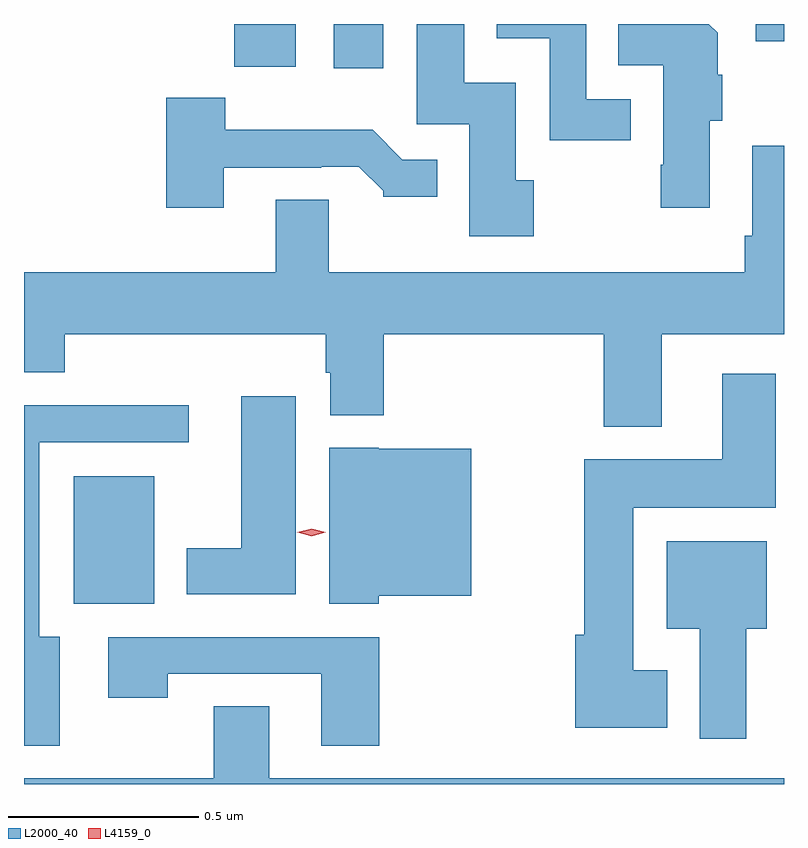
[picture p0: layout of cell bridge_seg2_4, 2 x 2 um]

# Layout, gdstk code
import gdstk
lib = gdstk.Library(unit=1e-6, precision=1e-09)
def R(c, l, rs):  # rectangles x0, y0, x1, y1
    for r in rs: c.add(gdstk.rectangle(r[:2], r[2:], *l))
def P(c, l, *ps):  # polygons
    for p in ps: c.add(gdstk.Polygon(p, *l))
L2000_40 = (2000, 40)
L4159_0 = (4159, 0)

bridge_seg2_4 = lib.new_cell('bridge_seg2_4')
R(bridge_seg2_4, L2000_40, [(653.744,638.936,653.956,639.271), (654.428,640.344,654.559,640.461), (654.166,640.349,654.328,640.461), (655.538,640.416,655.613,640.461)])
P(bridge_seg2_4, L2000_40, [(654.954,640.05),(654.907,640.05),(654.907,640.306),(654.772,640.306),(654.772,640.461),(654.647,640.461),(654.647,640.197),(654.785,640.197),(654.785,639.902),(654.954,639.902)],
  [(655.21,640.263),(655.092,640.263),(655.092,640.461),(654.857,640.461),(654.857,640.424),(654.996,640.424),(654.996,640.155),(655.21,640.155)],
  [(655.417,640.206),(655.451,640.206),(655.451,640.328),(655.438,640.328),(655.438,640.438),(655.415,640.461),(655.177,640.461),(655.177,640.352),(655.295,640.352),(655.295,640.09),(655.288,640.09),(655.288,639.978),(655.417,639.978)],
  [(654.139,640.083),(654.395,640.083),(654.395,640.086),(654.494,640.086),(654.558,640.022),(654.558,640.007),(654.7,640.007),(654.7,640.104),(654.609,640.104),(654.531,640.183),(654.142,640.183),(654.142,640.267),(653.987,640.267),(653.987,639.978),(654.139,639.978)],
  [(655.291,639.644),(655.613,639.644),(655.613,640.141),(655.53,640.141),(655.53,639.904),(655.51,639.904),(655.51,639.808),(654.415,639.808),(654.415,639.998),(654.275,639.998),(654.275,639.808),(653.613,639.808),(653.613,639.545),(653.72,639.545),(653.72,639.644),(654.407,639.644),(654.407,639.543),(654.419,639.543),(654.419,639.431),(654.56,639.431),(654.56,639.644),(655.139,639.644),(655.139,639.401),(655.291,639.401)],
  [(655.306,638.761),(655.216,638.761),(655.216,639.188),(655.591,639.188),(655.591,639.541),(655.451,639.541),(655.451,639.316),(655.087,639.316),(655.087,638.854),(655.064,638.854),(655.064,638.609),(655.306,638.609)],
  [(654.328,639.481),(654.185,639.481),(654.185,639.082),(654.041,639.082),(654.041,638.96),(654.328,638.96)],
  [(653.707,638.848),(653.653,638.848),(653.653,639.36),(654.046,639.36),(654.046,639.458),(653.613,639.458),(653.613,638.562),(653.707,638.562)],
  [(654.546,638.957),(654.79,638.957),(654.79,639.343),(654.546,639.343),(654.546,639.346),(654.416,639.346),(654.416,638.936),(654.546,638.936)],
  [(655.513,638.87),(655.567,638.87),(655.567,639.1),(655.304,639.1),(655.304,638.87),(655.391,638.87),(655.391,638.58),(655.513,638.58)],
  [(654.548,638.847),(653.835,638.847),(653.835,638.688),(653.991,638.688),(653.991,638.751),(654.395,638.751),(654.395,638.562),(654.548,638.562)],
  [(655.613,638.476),(654.259,638.476),(654.259,638.666),(654.112,638.666),(654.112,638.476),(653.613,638.476),(653.613,638.461),(655.613,638.461)])
P(bridge_seg2_4, L4159_0, [(654.37,639.113),(654.332,639.123),(654.332,639.123),(654.332,639.124),(654.37,639.133),(654.407,639.124),(654.407,639.124),(654.407,639.123)])

lib.write_gds('bridge_seg2_4.gds')
